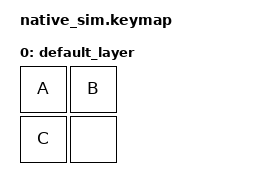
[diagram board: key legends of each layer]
#include <dt-bindings/zmk/keys.h>
#include <behaviors.dtsi>
#include <dt-bindings/zmk/input_mock.h>

/ {
    combos {
        compatible = "zmk,combos";
        combo_one {
            timeout-ms = <30>;
            key-positions = <0 1>;
            bindings = <&kp X>;
        };

        combo_two {
            timeout-ms = <30>;
            key-positions = <0 2>;
            bindings = <&kp Y>;
        };

        combo_three {
            timeout-ms = <30>;
            key-positions = <3>;
            bindings = <&kp Z>;
        };
    };

    keymap {
        compatible = "zmk,keymap";

        default_layer {
            bindings = <
                &kp A &kp B
                &kp C &none
            >;
        };
    };
};

&mock_input {
    events = <
        /* all permutations of combo one press and release */
        ZMK_INPUT_MOCK_PRESS(0,0,10)
        ZMK_INPUT_MOCK_PRESS(0,1,10)
        ZMK_INPUT_MOCK_RELEASE(0,0,10)
        ZMK_INPUT_MOCK_RELEASE(0,1,10)

        ZMK_INPUT_MOCK_PRESS(0,1,10)
        ZMK_INPUT_MOCK_PRESS(0,0,10)
        ZMK_INPUT_MOCK_RELEASE(0,1,10)
        ZMK_INPUT_MOCK_RELEASE(0,0,10)

        ZMK_INPUT_MOCK_PRESS(0,1,10)
        ZMK_INPUT_MOCK_PRESS(0,0,10)
        ZMK_INPUT_MOCK_RELEASE(0,0,10)
        ZMK_INPUT_MOCK_RELEASE(0,1,10)

        ZMK_INPUT_MOCK_PRESS(0,0,10)
        ZMK_INPUT_MOCK_PRESS(0,1,10)
        ZMK_INPUT_MOCK_RELEASE(0,1,10)
        ZMK_INPUT_MOCK_RELEASE(0,0,10)

        /* all permutations of combo two press and release */
        ZMK_INPUT_MOCK_PRESS(0,0,10)
        ZMK_INPUT_MOCK_PRESS(0,2,10)
        ZMK_INPUT_MOCK_RELEASE(0,0,10)
        ZMK_INPUT_MOCK_RELEASE(0,2,10)

        ZMK_INPUT_MOCK_PRESS(0,2,10)
        ZMK_INPUT_MOCK_PRESS(0,0,10)
        ZMK_INPUT_MOCK_RELEASE(0,2,10)
        ZMK_INPUT_MOCK_RELEASE(0,0,10)

        ZMK_INPUT_MOCK_PRESS(0,2,10)
        ZMK_INPUT_MOCK_PRESS(0,0,10)
        ZMK_INPUT_MOCK_RELEASE(0,0,10)
        ZMK_INPUT_MOCK_RELEASE(0,2,10)

        ZMK_INPUT_MOCK_PRESS(0,0,10)
        ZMK_INPUT_MOCK_PRESS(0,2,10)
        ZMK_INPUT_MOCK_RELEASE(0,2,10)
        ZMK_INPUT_MOCK_RELEASE(0,0,10)
    >;
};
